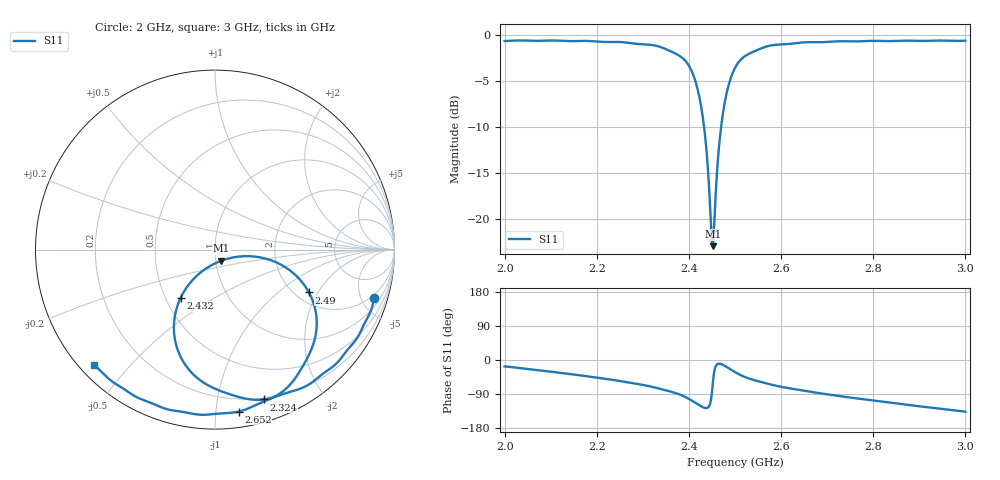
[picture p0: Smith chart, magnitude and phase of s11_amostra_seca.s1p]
! S11 simulado (openEMS) da antena patch_2g45: amostra: 10 mm de polimero (er = 4, tand = 0.01) com 0 % de agua -> er = 4.00, tand = 0.010; gap 3 mm
! referencia: borda da placa (entrada do SMA)
# Hz S RI R 50
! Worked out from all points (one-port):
!   501 points, 2 GHz to 3 GHz, reference 50 ohm
!   lowest |S11| = -22.9 dB at 2.452 GHz (marker M1), VSWR 1.15, Z = 53.3 - j6.6 ohm
!   |S11| at or under -10 dB: 2.433 GHz to 2.47 GHz (36.91 MHz wide, 1.51 % of centre)
!   S11 on the Smith chart (normalised r, x): 2 GHz: 1.67, -6.34; 2.324 GHz: 0.19, -1.36; 2.432 GHz: 0.60, -0.36; 2.49 GHz: 2.36, -1.68; 2.652 GHz: 0.11, -1.15; 3 GHz: 0.04, -0.40
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2e9  0.887 -0.2679
2.126e9  0.7608 -0.5323
2.176e9  0.6835 -0.6276
2.25e9  0.5196 -0.7535
2.324e9  0.2726 -0.835
2.376e9  0.00995 -0.7793
2.394e9  -0.1088 -0.7066
2.41e9  -0.2055 -0.5654
2.422e9  -0.2283 -0.4098
2.432e9  -0.1915 -0.2687
2.44e9  -0.1221 -0.1665
2.448e9  -0.0222 -0.0883
2.45e9  0.0064 -0.0738
2.452e9  0.0361 -0.0616
2.456e9  0.0977 -0.0442
2.464e9  0.2238 -0.0391
2.47e9  0.3138 -0.0601
2.478e9  0.4177 -0.1161
2.49e9  0.5234 -0.2385
2.5e9  0.5619 -0.3501
2.522e9  0.5409 -0.5456
2.554e9  0.4544 -0.7059
2.584e9  0.3508 -0.8087
2.626e9  0.2137 -0.8725
2.652e9  0.1317 -0.9027
2.75e9  -0.1466 -0.9104
2.876e9  -0.4446 -0.8179
3e9  -0.673 -0.6423
